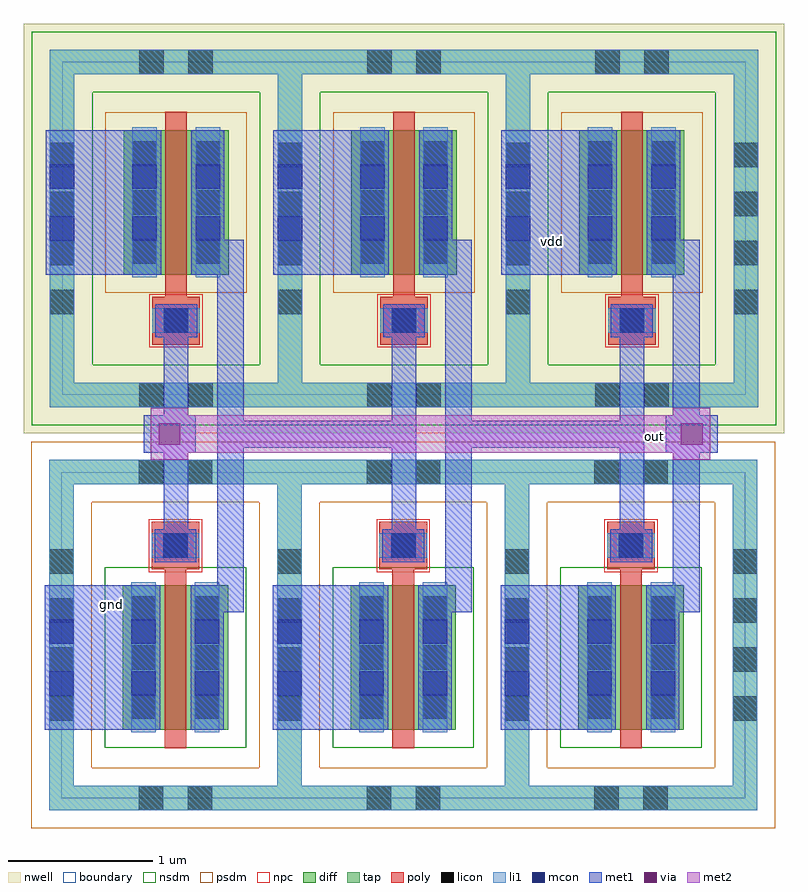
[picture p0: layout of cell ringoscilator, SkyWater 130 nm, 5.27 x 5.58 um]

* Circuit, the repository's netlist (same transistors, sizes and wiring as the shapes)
** sch_path: /home/bagatraya/icpolytron/ringoscilator/ringoscilator.sch
.subckt ringoscilator Vdd out GND
*.PININFO out:O Vdd:I GND:I
x1 Vdd out net1 GND inverter_gate
x2 Vdd net1 net2 GND inverter_gate
x3 Vdd net2 out GND inverter_gate
.ends

* expanding   symbol:  inverter_gate.sym # of pins=4
** sym_path: /home/bagatraya/icpolytron/ringoscilator/inverter_gate.sym
** sch_path: /home/bagatraya/icpolytron/ringoscilator/inverter_gate.sch
.subckt inverter_gate Vdd in out GND
*.PININFO in:I out:O Vdd:I GND:I
XM1 out in GND GND sky130_fd_pr__nfet_01v8 L=0.15 W=1 nf=1 m=1
XM2 out in Vdd Vdd sky130_fd_pr__pfet_01v8 L=0.15 W=1 nf=1 m=1
.ends

.end

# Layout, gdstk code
import gdstk
lib = gdstk.Library(unit=1e-6, precision=1e-09)
def R(c, l, rs):  # rectangles x0, y0, x1, y1
    for r in rs: c.add(gdstk.rectangle(r[:2], r[2:], *l))
def A(c, l, x, y, w, h, nx, ny, dx, dy):  # array of equal rectangles
    R(c, l, [(x+i*dx, y+j*dy, x+i*dx+w, y+j*dy+h) for i in range(nx) for j in range(ny)])
nwell = (64, 20)
diff = (65, 20)
tap = (65, 44)
poly = (66, 20)
licon = (66, 44)
li1 = (67, 20)
mcon = (67, 44)
met1 = (68, 20)
via = (68, 44)
met2 = (69, 20)
nsdm = (93, 44)
psdm = (94, 20)
npc = (95, 20)
boundary = (235, 4)

sky130_fd_pr__pfet_01v8_ = lib.new_cell('sky130_fd_pr__pfet_01v8_LGS3BL')
R(sky130_fd_pr__pfet_01v8_, nwell, [(-1.055,-1.42,1.055,1.42)])
R(sky130_fd_pr__pfet_01v8_, diff, [(-0.365,-0.32,0.365,0.68)])
R(sky130_fd_pr__pfet_01v8_, tap, [(-0.875,-1.24,0.875,-1.07), (-0.875,-1.07,-0.705,1.07), (0.705,-1.07,0.875,1.07), (-0.875,1.07,0.875,1.24)])
R(sky130_fd_pr__pfet_01v8_, poly, [(-0.165,-0.805,0.165,-0.475), (-0.075,-0.475,0.075,0.81)])
A(sky130_fd_pr__pfet_01v8_, licon, -0.875, -0.595, 0.17, 0.17, 1, 4, 0, 0.34)
A(sky130_fd_pr__pfet_01v8_, licon, 0.705, -0.595, 0.17, 0.17, 1, 4, 0, 0.34)
A(sky130_fd_pr__pfet_01v8_, licon, -0.305, -0.245, 0.17, 0.17, 1, 3, 0, 0.34)
A(sky130_fd_pr__pfet_01v8_, licon, 0.135, -0.245, 0.17, 0.17, 1, 3, 0, 0.34)
R(sky130_fd_pr__pfet_01v8_, licon, [(-0.255,-1.24,-0.085,-1.07), (0.085,-1.24,0.255,-1.07), (-0.085,-0.725,0.085,-0.555), (-0.255,1.07,-0.085,1.24), (0.085,1.07,0.255,1.24)])
R(sky130_fd_pr__pfet_01v8_, li1, [(-0.875,-1.24,0.875,-1.07), (-0.875,-1.07,-0.705,1.07), (0.705,-1.07,0.875,1.07), (-0.165,-0.725,0.165,-0.555), (-0.305,-0.34,-0.135,0.7), (0.135,-0.34,0.305,0.7), (-0.875,1.07,0.875,1.24)])
R(sky130_fd_pr__pfet_01v8_, mcon, [(-0.085,-0.725,0.085,-0.555), (-0.305,-0.085,-0.135,0.085), (0.135,-0.085,0.305,0.085), (-0.305,0.275,-0.135,0.445), (0.135,0.275,0.305,0.445)])
R(sky130_fd_pr__pfet_01v8_, met1, [(-0.145,-0.755,0.145,-0.525), (-0.335,-0.32,-0.105,0.68), (0.105,-0.32,0.335,0.68)])
R(sky130_fd_pr__pfet_01v8_, nsdm, [(-1,-1.365,1,-0.945), (-1,-0.945,-0.58,0.945), (0.58,-0.945,1,0.945), (-1,0.945,1,1.365)])
R(sky130_fd_pr__pfet_01v8_, psdm, [(-0.49,-0.445,0.49,0.805)])
R(sky130_fd_pr__pfet_01v8_, npc, [(-0.185,-0.825,0.185,-0.455)])
R(sky130_fd_pr__pfet_01v8_, boundary, [(-0.79,-1.155,0.79,1.155)])

sky130_fd_pr__nfet_01v8_ = lib.new_cell('sky130_fd_pr__nfet_01v8_64Z3AY')
R(sky130_fd_pr__nfet_01v8_, diff, [(-0.365,-0.655,0.365,0.345)])
R(sky130_fd_pr__nfet_01v8_, tap, [(-0.875,-1.215,0.875,-1.045), (-0.875,-1.045,-0.705,1.045), (0.705,-1.045,0.875,1.045), (-0.875,1.045,0.875,1.215)])
R(sky130_fd_pr__nfet_01v8_, poly, [(-0.075,-0.785,0.075,0.455), (-0.165,0.455,0.165,0.785)])
A(sky130_fd_pr__nfet_01v8_, licon, -0.875, -0.595, 0.17, 0.17, 1, 4, 0, 0.34)
A(sky130_fd_pr__nfet_01v8_, licon, 0.705, -0.595, 0.17, 0.17, 1, 4, 0, 0.34)
A(sky130_fd_pr__nfet_01v8_, licon, -0.305, -0.58, 0.17, 0.17, 1, 3, 0, 0.34)
A(sky130_fd_pr__nfet_01v8_, licon, 0.135, -0.58, 0.17, 0.17, 1, 3, 0, 0.34)
R(sky130_fd_pr__nfet_01v8_, licon, [(-0.255,-1.215,-0.085,-1.045), (0.085,-1.215,0.255,-1.045), (-0.085,0.535,0.085,0.705), (-0.255,1.045,-0.085,1.215), (0.085,1.045,0.255,1.215)])
R(sky130_fd_pr__nfet_01v8_, li1, [(-0.875,-1.215,0.875,-1.045), (-0.875,-1.045,-0.705,1.045), (0.705,-1.045,0.875,1.045), (-0.305,-0.675,-0.135,0.365), (0.135,-0.675,0.305,0.365), (-0.165,0.535,0.165,0.705), (-0.875,1.045,0.875,1.215)])
R(sky130_fd_pr__nfet_01v8_, mcon, [(-0.305,-0.42,-0.135,-0.25), (0.135,-0.42,0.305,-0.25), (-0.305,-0.06,-0.135,0.11), (0.135,-0.06,0.305,0.11), (-0.085,0.535,0.085,0.705)])
R(sky130_fd_pr__nfet_01v8_, met1, [(-0.335,-0.655,-0.105,0.345), (0.105,-0.655,0.335,0.345), (-0.145,0.505,0.145,0.735)])
R(sky130_fd_pr__nfet_01v8_, nsdm, [(-0.49,-0.78,0.49,0.47)])
R(sky130_fd_pr__nfet_01v8_, psdm, [(-1,-1.34,1,-0.92), (-1,-0.92,-0.58,0.92), (0.58,-0.92,1,0.92), (-1,0.92,1,1.34)])
R(sky130_fd_pr__nfet_01v8_, npc, [(-0.185,0.435,0.185,0.805)])
R(sky130_fd_pr__nfet_01v8_, boundary, [(-0.79,-1.13,0.79,1.13)])

inverter_gate = lib.new_cell('inverter_gate')
R(inverter_gate, li1, [(-0.095,0.845,0.075,1.725), (-0.09,4,0.08,4.88)])
R(inverter_gate, mcon, [(-0.095,1.02,0.075,1.19), (-0.095,1.38,0.075,1.55), (-0.09,4.175,0.08,4.345), (-0.09,4.535,0.08,4.705)])
R(inverter_gate, met1, [(-0.125,0.785,0.645,1.785), (0.915,1.6,1.255,1.785), (1.07,1.785,1.255,3.94), (0.7,1.97,0.87,3.71), (-0.12,3.94,0.65,4.94), (0.92,3.94,1.255,4.18)])
inverter_gate.add(gdstk.Reference(sky130_fd_pr__pfet_01v8_, (0.785,4.26)))
inverter_gate.add(gdstk.Reference(sky130_fd_pr__nfet_01v8_, (0.78,1.44)))
inverter_gate.add(gdstk.Label('Vdd', (0.125,4.53), layer=68, texttype=5))
inverter_gate.add(gdstk.Label('GND', (0.1,1.295), layer=68, texttype=5))
inverter_gate.add(gdstk.Label('in', (0.775,2.855), layer=68, texttype=5))
inverter_gate.add(gdstk.Label('out', (1.16,2.84), layer=68, texttype=5))

ringoscilator = lib.new_cell('ringoscilator')
R(ringoscilator, met1, [(0.5,8.08,0.65,8.27), (0.825,9.235,1.185,9.495), (4.445,9.235,4.805,9.495), (1.335,9.27,2.715,9.455), (2.915,9.27,4.295,9.455), (3.57,10.63,3.74,10.79)])
R(ringoscilator, via, [(0.93,9.29,1.08,9.44), (4.55,9.29,4.7,9.44)])
R(ringoscilator, met2, [(0.875,9.185,1.135,9.235), (4.495,9.185,4.755,9.235), (0.875,9.235,4.755,9.495), (0.875,9.495,1.135,9.545), (4.495,9.495,4.755,9.545)])
ringoscilator.add(gdstk.Reference(inverter_gate, (3.425,6.53)))
ringoscilator.add(gdstk.Reference(inverter_gate, (1.845,6.53)))
ringoscilator.add(gdstk.Reference(inverter_gate, (0.265,6.53)))
ringoscilator.add(gdstk.Label('out', (4.37,9.35), layer=69, texttype=5))
ringoscilator.add(gdstk.Label('vdd', (3.66,10.7), layer=68, texttype=5))
ringoscilator.add(gdstk.Label('gnd', (0.6,8.18), layer=68, texttype=5))

lib.write_gds('ringoscilator.gds')
